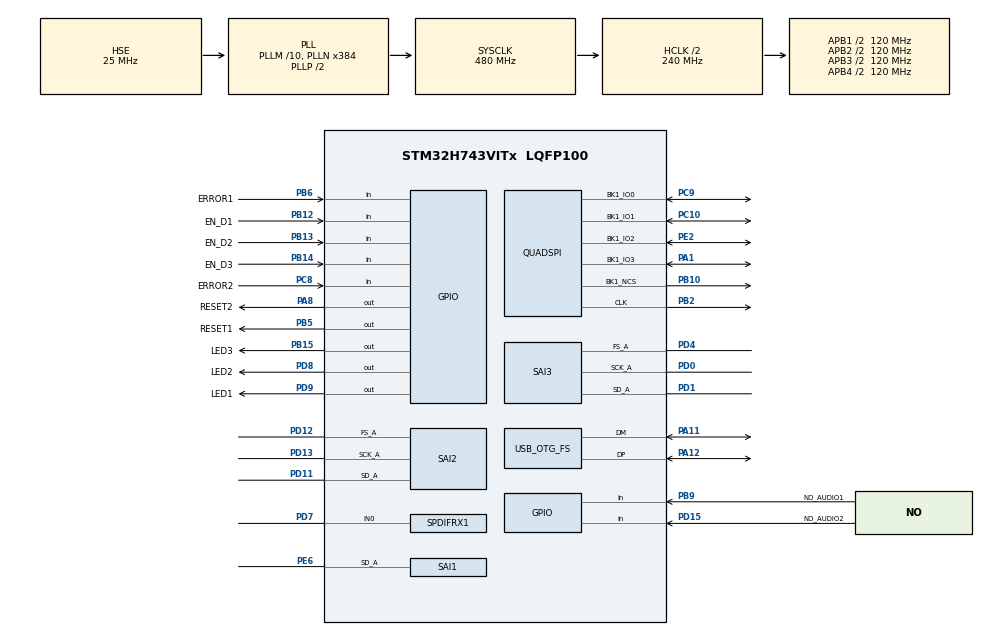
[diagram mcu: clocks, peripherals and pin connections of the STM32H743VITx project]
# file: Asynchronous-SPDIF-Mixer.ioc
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CORTEX_M7.AccessPermission_S-Cortex_Memory_Protection_Unit_Region1_Settings_S=MPU_REGION_PRIV_RO
CORTEX_M7.AccessPermission_S-Cortex_Memory_Protection_Unit_Region2_Settings_S=MPU_REGION_PRIV_RO_URO
CORTEX_M7.BaseAddress_S-Cortex_Memory_Protection_Unit_Region1_Settings_S=0x08000000
CORTEX_M7.BaseAddress_S-Cortex_Memory_Protection_Unit_Region2_Settings_S=0x90000000
CORTEX_M7.Enable_S-Cortex_Memory_Protection_Unit_Region1_Settings_S=MPU_REGION_ENABLE
CORTEX_M7.Enable_S-Cortex_Memory_Protection_Unit_Region2_Settings_S=MPU_REGION_ENABLE
CORTEX_M7.IsCacheable_S-Cortex_Memory_Protection_Unit_Region1_Settings_S=MPU_ACCESS_CACHEABLE
CORTEX_M7.Number_S-Cortex_Memory_Protection_Unit_Region2_Settings_S=MPU_REGION_NUMBER2
CORTEX_M7.Size_S-Cortex_Memory_Protection_Unit_Region1_Settings_S=MPU_REGION_SIZE_2MB
CORTEX_M7.Size_S-Cortex_Memory_Protection_Unit_Region2_Settings_S=MPU_REGION_SIZE_16MB
CORTEX_M7.TypeExtField_S-Cortex_Memory_Protection_Unit_Region1_Settings_S=MPU_TEX_LEVEL1
CORTEX_M7.TypeExtField_S-Cortex_Memory_Protection_Unit_Region2_Settings_S=MPU_TEX_LEVEL1
CORTEX_M7.default_mode_Activation=1
Dma.Request0=SAI1_A
Dma.Request1=SAI2_A
Dma.Request2=SAI3_A
Dma.Request3=SPDIF_RX_DT
Dma.SAI1_A.0.Direction=DMA_MEMORY_TO_PERIPH
Dma.SAI1_A.0.EventEnable=DISABLE
Dma.SAI1_A.0.FIFOMode=DMA_FIFOMODE_DISABLE
Dma.SAI1_A.0.Instance=DMA1_Stream0
Dma.SAI1_A.0.MemDataAlignment=DMA_MDATAALIGN_WORD
Dma.SAI1_A.0.MemInc=DMA_MINC_ENABLE
Dma.SAI1_A.0.Mode=DMA_CIRCULAR
Dma.SAI1_A.0.PeriphDataAlignment=DMA_PDATAALIGN_WORD
Dma.SAI1_A.0.PeriphInc=DMA_PINC_DISABLE
Dma.SAI1_A.0.Polarity=HAL_DMAMUX_REQ_GEN_RISING
Dma.SAI1_A.0.Priority=DMA_PRIORITY_VERY_HIGH
Dma.SAI1_A.0.RequestNumber=1
Dma.SAI1_A.0.SignalID=NONE
Dma.SAI1_A.0.SyncEnable=DISABLE
Dma.SAI1_A.0.SyncPolarity=HAL_DMAMUX_SYNC_NO_EVENT
Dma.SAI1_A.0.SyncRequestNumber=1
Dma.SAI1_A.0.SyncSignalID=NONE
Dma.SAI2_A.1.Direction=DMA_PERIPH_TO_MEMORY
Dma.SAI2_A.1.EventEnable=DISABLE
Dma.SAI2_A.1.FIFOMode=DMA_FIFOMODE_DISABLE
Dma.SAI2_A.1.Instance=DMA1_Stream1
Dma.SAI2_A.1.MemDataAlignment=DMA_MDATAALIGN_WORD
Dma.SAI2_A.1.MemInc=DMA_MINC_ENABLE
Dma.SAI2_A.1.Mode=DMA_CIRCULAR
Dma.SAI2_A.1.PeriphDataAlignment=DMA_PDATAALIGN_WORD
Dma.SAI2_A.1.PeriphInc=DMA_PINC_DISABLE
Dma.SAI2_A.1.Polarity=HAL_DMAMUX_REQ_GEN_RISING
Dma.SAI2_A.1.Priority=DMA_PRIORITY_HIGH
Dma.SAI2_A.1.RequestNumber=1
Dma.SAI2_A.1.SignalID=NONE
Dma.SAI2_A.1.SyncEnable=DISABLE
Dma.SAI2_A.1.SyncPolarity=HAL_DMAMUX_SYNC_NO_EVENT
Dma.SAI2_A.1.SyncRequestNumber=1
Dma.SAI2_A.1.SyncSignalID=NONE
Dma.SAI3_A.2.Direction=DMA_PERIPH_TO_MEMORY
Dma.SAI3_A.2.EventEnable=DISABLE
Dma.SAI3_A.2.FIFOMode=DMA_FIFOMODE_DISABLE
Dma.SAI3_A.2.Instance=DMA1_Stream2
Dma.SAI3_A.2.MemDataAlignment=DMA_MDATAALIGN_WORD
Dma.SAI3_A.2.MemInc=DMA_MINC_ENABLE
Dma.SAI3_A.2.Mode=DMA_CIRCULAR
Dma.SAI3_A.2.PeriphDataAlignment=DMA_PDATAALIGN_WORD
Dma.SAI3_A.2.PeriphInc=DMA_PINC_DISABLE
Dma.SAI3_A.2.Polarity=HAL_DMAMUX_REQ_GEN_RISING
Dma.SAI3_A.2.Priority=DMA_PRIORITY_HIGH
Dma.SAI3_A.2.RequestNumber=1
Dma.SAI3_A.2.SignalID=NONE
Dma.SAI3_A.2.SyncEnable=DISABLE
Dma.SAI3_A.2.SyncPolarity=HAL_DMAMUX_SYNC_NO_EVENT
Dma.SAI3_A.2.SyncRequestNumber=1
Dma.SAI3_A.2.SyncSignalID=NONE
Dma.SPDIF_RX_DT.3.Direction=DMA_PERIPH_TO_MEMORY
Dma.SPDIF_RX_DT.3.EventEnable=DISABLE
Dma.SPDIF_RX_DT.3.FIFOMode=DMA_FIFOMODE_DISABLE
Dma.SPDIF_RX_DT.3.Instance=DMA1_Stream3
Dma.SPDIF_RX_DT.3.MemDataAlignment=DMA_MDATAALIGN_WORD
Dma.SPDIF_RX_DT.3.MemInc=DMA_MINC_ENABLE
Dma.SPDIF_RX_DT.3.Mode=DMA_CIRCULAR
Dma.SPDIF_RX_DT.3.PeriphDataAlignment=DMA_PDATAALIGN_WORD
Dma.SPDIF_RX_DT.3.PeriphInc=DMA_PINC_DISABLE
Dma.SPDIF_RX_DT.3.Polarity=HAL_DMAMUX_REQ_GEN_RISING
Dma.SPDIF_RX_DT.3.Priority=DMA_PRIORITY_HIGH
Dma.SPDIF_RX_DT.3.RequestNumber=1
Dma.SPDIF_RX_DT.3.SignalID=NONE
Dma.SPDIF_RX_DT.3.SyncEnable=DISABLE
Dma.SPDIF_RX_DT.3.SyncPolarity=HAL_DMAMUX_SYNC_NO_EVENT
Dma.SPDIF_RX_DT.3.SyncRequestNumber=1
Dma.SPDIF_RX_DT.3.SyncSignalID=NONE
Mcu.Family=STM32H7
Mcu.Name=STM32H743VITx
Mcu.Package=LQFP100
NVIC.DMA1_Stream0_IRQn=true\:0\:0\:false\:false\:true\:false\:true\:true
NVIC.DMA1_Stream1_IRQn=true\:0\:0\:false\:false\:true\:false\:true\:true
NVIC.DMA1_Stream2_IRQn=true\:0\:0\:false\:false\:true\:false\:true\:true
NVIC.DMA1_Stream3_IRQn=true\:0\:0\:false\:false\:true\:false\:true\:true
NVIC.OTG_FS_IRQn=true\:0\:0\:false\:false\:true\:false\:true\:true
NVIC.PriorityGroup=NVIC_PRIORITYGROUP_4
NVIC.QUADSPI_IRQn=true\:0\:0\:false\:false\:true\:true\:true\:true
NVIC.TIM6_DAC_IRQn=true\:0\:0\:false\:false\:true\:true\:true\:true
PA1.Mode=Single Bank 1
PA1.Signal=QUADSPI_BK1_IO3
PA11.GPIO_Speed=GPIO_SPEED_FREQ_VERY_HIGH
PA11.Mode=Device_Only
PA11.Signal=USB_OTG_FS_DM
PA12.GPIO_Speed=GPIO_SPEED_FREQ_VERY_HIGH
PA12.Mode=Device_Only
PA12.Signal=USB_OTG_FS_DP
PA13\ (JTMS/SWDIO).Mode=Serial_Wire
PA13\ (JTMS/SWDIO).Signal=DEBUG_JTMS-SWDIO
PA14\ (JTCK/SWCLK).Mode=Serial_Wire
PA14\ (JTCK/SWCLK).Signal=DEBUG_JTCK-SWCLK
PA8.GPIO_Label=RESET2
PA8.Signal=GPIO_Output
PB10.Mode=Single Bank 1
PB10.Signal=QUADSPI_BK1_NCS
PB12.GPIO_Label=EN_D1
PB12.Signal=GPIO_Input
PB13.GPIO_Label=EN_D2
PB13.Signal=GPIO_Input
PB14.GPIO_Label=EN_D3
PB14.Signal=GPIO_Input
PB15.GPIO_Label=LED3
PB15.GPIO_ModeDefaultOutputPP=GPIO_MODE_OUTPUT_OD
PB15.GPIO_PuPd=GPIO_NOPULL
PB15.PinState=GPIO_PIN_SET
PB15.Signal=GPIO_Output
PB2.Mode=Single Bank 1
PB2.Signal=QUADSPI_CLK
PB5.GPIO_Label=RESET1
PB5.Signal=GPIO_Output
PB6.GPIO_Label=ERROR1
PB6.Signal=GPIO_Input
PB9.GPIO_Label=NO_AUDIO1
PB9.Signal=GPIO_Input
PC10.Mode=Single Bank 1
PC10.Signal=QUADSPI_BK1_IO1
PC8.GPIO_Label=ERROR2
PC8.Signal=GPIO_Input
PC9.Mode=Single Bank 1
PC9.Signal=QUADSPI_BK1_IO0
PD0.GPIO_Speed=GPIO_SPEED_FREQ_VERY_HIGH
PD0.Mode=SAI_A_AsyncSlave
PD0.Signal=SAI3_SCK_A
PD1.GPIO_Speed=GPIO_SPEED_FREQ_VERY_HIGH
PD1.Mode=SAI_A_AsyncSlave
PD1.Signal=SAI3_SD_A
PD11.GPIO_Speed=GPIO_SPEED_FREQ_VERY_HIGH
PD11.Mode=SAI_A_AsyncSlave
PD11.Signal=SAI2_SD_A
PD12.GPIO_Speed=GPIO_SPEED_FREQ_VERY_HIGH
PD12.Mode=SAI_A_AsyncSlave
PD12.Signal=SAI2_FS_A
PD13.GPIO_Speed=GPIO_SPEED_FREQ_VERY_HIGH
PD13.Mode=SAI_A_AsyncSlave
PD13.Signal=SAI2_SCK_A
PD15.GPIO_Label=NO_AUDIO2
PD15.Signal=GPIO_Input
PD4.GPIO_Speed=GPIO_SPEED_FREQ_VERY_HIGH
PD4.Mode=SAI_A_AsyncSlave
PD4.Signal=SAI3_FS_A
PD7.GPIO_Speed=GPIO_SPEED_FREQ_VERY_HIGH
PD7.Mode=IN0
PD7.Signal=SPDIFRX1_IN0
PD8.GPIO_Label=LED2
PD8.GPIO_ModeDefaultOutputPP=GPIO_MODE_OUTPUT_OD
PD8.GPIO_PuPd=GPIO_NOPULL
PD8.PinState=GPIO_PIN_SET
PD8.Signal=GPIO_Output
PD9.GPIO_Label=LED1
PD9.GPIO_ModeDefaultOutputPP=GPIO_MODE_OUTPUT_OD
PD9.GPIO_PuPd=GPIO_NOPULL
PD9.PinState=GPIO_PIN_SET
PD9.Signal=GPIO_Output
PE2.Mode=Single Bank 1
PE2.Signal=QUADSPI_BK1_IO2
PE6.GPIO_Speed=GPIO_SPEED_FREQ_VERY_HIGH
PE6.Mode=SAI_A_SPDIF
PE6.Signal=SAI1_SD_A
PH0-OSC_IN\ (PH0).Mode=HSE-External-Oscillator
PH0-OSC_IN\ (PH0).Signal=RCC_OSC_IN
PH1-OSC_OUT\ (PH1).Mode=HSE-External-Oscillator
PH1-OSC_OUT\ (PH1).Signal=RCC_OSC_OUT
ProjectManager.HeapSize=0x200
ProjectManager.StackSize=0x400
ProjectManager.TargetToolchain=STM32CubeIDE
QUADSPI.ClockPrescaler=4
QUADSPI.FlashSize=23
QUADSPI.SampleShifting=QSPI_SAMPLE_SHIFTING_HALFCYCLE
RCC.ADCFreq_Value=147500000
RCC.APB1Freq_Value=120000000
RCC.APB2Freq_Value=120000000
RCC.APB3Freq_Value=120000000
RCC.APB4Freq_Value=120000000
RCC.CortexFreq_Value=480000000
RCC.D1PPRE=RCC_APB3_DIV2
RCC.D2PPRE1=RCC_APB1_DIV2
RCC.D2PPRE2=RCC_APB2_DIV2
RCC.D3PPRE=RCC_APB4_DIV2
RCC.DIVM1=10
RCC.DIVM2=10
RCC.DIVM3=10
RCC.DIVN1=384
RCC.DIVN2=177
RCC.DIVN3=200
RCC.DIVP2=3
RCC.DIVP3=4
RCC.HCLKFreq_Value=240000000
RCC.HPRE=RCC_HCLK_DIV2
RCC.PLLSourceVirtual=RCC_PLLSOURCE_HSE
RCC.SAI1CLockSelection=RCC_SAI1CLKSOURCE_PLL2
RCC.SAI23CLockSelection=RCC_SAI23CLKSOURCE_PLL2
RCC.SPDIFCLockSelection=RCC_SPDIFRXCLKSOURCE_PLL3
RCC.SYSCLKFreq_VALUE=480000000
RCC.SYSCLKSource=RCC_SYSCLKSOURCE_PLLCLK
RCC.USBCLockSelection=RCC_USBCLKSOURCE_HSI48
RCC.USBFreq_Value=48000000
SAI1.AudioFrequency-SAI_A_SPDIF=SAI_AUDIO_FREQUENCY_48K
SAI1.Instance-SAI_A_SPDIF=SAI$Index_Block_A
SAI1.RealAudioFreq-SAI_A_SPDIF=2.304687 MHz
SAI1.VirtualMode-SAI_A_SPDIF=VM_SPDIF
SAI2.BasicDataSize-SAI_A_AsyncSlave=SAI_PROTOCOL_DATASIZE_32BIT
SAI2.BasicProtocol-SAI_A_AsyncSlave=SAI_I2S_MSBJUSTIFIED
SAI2.InitProtocol-SAI_A_AsyncSlave=Enable
SAI2.Instance-SAI_A_AsyncSlave=SAI$Index_Block_A
SAI2.VirtualMode-SAI_A_AsyncSlave=VM_SLAVE
SAI2.VirtualProtocol-SAI_A_BASIC=VM_BASIC_PROTOCOL
SAI3.BasicDataSize-SAI_A_AsyncSlave=SAI_PROTOCOL_DATASIZE_32BIT
SAI3.BasicProtocol-SAI_A_AsyncSlave=SAI_I2S_MSBJUSTIFIED
SAI3.InitProtocol-SAI_A_AsyncSlave=Enable
SAI3.Instance-SAI_A_AsyncSlave=SAI$Index_Block_A
SAI3.VirtualMode-SAI_A_AsyncSlave=VM_SLAVE
SAI3.VirtualProtocol-SAI_A_BASIC=VM_BASIC_PROTOCOL
SPDIFRX1.StereoMode=SPDIFRX_STEREOMODE_ENABLE
TIM6.AutoReloadPreload=TIM_AUTORELOAD_PRELOAD_ENABLE
TIM6.Period=1000-1
TIM6.Prescaler=25000-1
USB_DEVICE.CLASS_NAME_FS=CDC
USB_DEVICE.VirtualMode-CDC_FS=Cdc
USB_DEVICE.VirtualModeFS=Cdc_FS
USB_OTG_FS.VirtualMode=Device_Only
VP_MEMORYMAP_VS_MEMORYMAP.Mode=CurAppReg
VP_SAI2_VP_$IpInstance_SAIA_SAI_BASIC.Mode=SAI_A_BASIC
VP_SAI3_VP_$IpInstance_SAIA_SAI_BASIC.Mode=SAI_A_BASIC
VP_TIM6_VS_ClockSourceINT.Mode=Enable_Timer
VP_USB_DEVICE_VS_USB_DEVICE_CDC_FS.Mode=CDC_FS
board=custom

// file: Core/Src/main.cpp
/* USER CODE BEGIN Header */
/**
  ******************************************************************************
  * @file           : main.c
  * @brief          : Main program body
  ******************************************************************************
  * @attention
  *
  * Copyright (c) 2024 STMicroelectronics.
  * All rights reserved.
  *
  * This software is licensed under terms that can be found in the LICENSE file
  * in the root directory of this software component.
  * If no LICENSE file comes with this software, it is provided AS-IS.
  *
  ******************************************************************************
  */
/* USER CODE END Header */
#include "main.h"
#include "usb_device.h"

/* USER CODE BEGIN Includes */
#include "cMixer.h"
#include "cSAI_SPDIF_TX.h"
#include "cSPDIF_RX.h"
#include "cSAI_DIR9001_RX.h"
#include "usbd_cdc_if.h"
#include "W25Q128.h"
#include "cFlashManager.h"
/* USER CODE END Includes */

/* USER CODE BEGIN PTD */
//#define RAM_D3 __attribute__((section(".RAM_D3_Section")))
/* USER CODE END PTD */

QSPI_HandleTypeDef hqspi;

SAI_HandleTypeDef hsai_BlockA1;
SAI_HandleTypeDef hsai_BlockA2;
SAI_HandleTypeDef hsai_BlockA3;
DMA_HandleTypeDef hdma_sai1_a;
DMA_HandleTypeDef hdma_sai2_a;
DMA_HandleTypeDef hdma_sai3_a;

SPDIFRX_HandleTypeDef hspdif1;
DMA_HandleTypeDef hdma_spdif_rx_dt;

TIM_HandleTypeDef htim6;

/* USER CODE BEGIN PV */
int32_t __SAI_DIR9001_RX1_Buffer[40];
int32_t __SAI_DIR9001_RX2_Buffer[40];

Dad::cMixer 		  	__Mixer;
Dad::cSAI_SPDIF_TX 	  	__SAI_SPDIF_TX;
Dad::cSAI_DIR9001_RX1 	__SAI_DIR9001_RX1;
Dad::cSAI_DIR9001_RX2 	__SAI_DIR9001_RX2;
Dad::cSPDIF_RX 		  	__SPDIFRX;

DadDrivers::cW25Q128		__Flash;
DadDrivers::cFlashManager 	__FlashManager;
bool 						__FlashStatus = false;
MemStruct					__MemStruct;
bool						__MemStructChange = false;

/* USER CODE END PV */

void SystemClock_Config(void);
void PeriphCommonClock_Config(void);
static void MPU_Config(void);
static void MX_GPIO_Init(void);
static void MX_DMA_Init(void);
static void MX_SAI1_Init(void);
static void MX_SAI2_Init(void);
static void MX_SPDIFRX1_Init(void);
static void MX_SAI3_Init(void);
static void MX_QUADSPI_Init(void);
static void MX_TIM6_Init(void);

/* USER CODE BEGIN 0 */
void OnNoteOn(uint8_t channel, uint8_t note, uint8_t velocity){

}
void OnNoteOff(uint8_t channel, uint8_t note, uint8_t velocity){

}

float midiToGain(uint8_t midiValue) {
    if (midiValue == 0) {
        return 0.0f;  // Silence complet
    }

    // Normalisation 0-127 vers 0.0-1.0
    float normalized = midiValue / 127.0f;

    // Mapping linéaire vers la plage -50dB à +6dB (56dB de plage totale)
    float dB = -45.0f + (normalized * 51.0f);

    // Conversion dB vers gain linéaire : gain = 10^(dB/20)
    float gain = powf(10.0f, dB / 20.0f);

    return gain;
}

void OnControlChange(uint8_t channel, uint8_t control, uint8_t value){
	if(control == CC_GAIN_1){
		__MemStruct.vol1 = value;
		__MemStructChange = true;
		float Gain =  midiToGain(value);
		__Mixer.setGain1(Gain);
	}
	if(control == CC_GAIN_2){
		__MemStruct.vol2 = value;
		__MemStructChange = true;
		float Gain =  midiToGain(value);
		__Mixer.setGain2(Gain);
	}
	if(control == CC_GAIN_3){
		__MemStruct.vol3 = value;
		__MemStructChange = true;
		float Gain =  midiToGain(value);
		__Mixer.setGain3(Gain);
	}
	if(control == CC_GAIN_MASTER){
		__MemStruct.volMaster = value;
		__MemStructChange = true;
		float Gain =  midiToGain(value);
		__Mixer.setGainMaster(Gain);
	}
}

void OnProgramChange(uint8_t channel, uint8_t program){

}
/* USER CODE END 0 */

int main(void)
{

  /* MPU Configuration--------------------------------------------------------*/
  MPU_Config();

  /* MCU Configuration--------------------------------------------------------*/

  /* Configure The Vector Table address */
  SCB->VTOR = 0x08000000;

  /* Reset of all peripherals, Initializes the Flash interface and the Systick. */
  HAL_Init();

  /* Configure the system clock */
  SystemClock_Config();

  /* Configure the peripherals common clocks */
  PeriphCommonClock_Config();

  /* Initialize all configured peripherals */
  MX_GPIO_Init();
  MX_DMA_Init();
  MX_SAI1_Init();
  MX_SAI2_Init();
  MX_SPDIFRX1_Init();
  MX_SAI3_Init();
  MX_QUADSPI_Init();
  MX_TIM6_Init();
  MX_USB_DEVICE_Init();
  /* USER CODE BEGIN 2 */
  HAL_StatusTypeDef result = __Flash.Init(&hqspi, false, FLASH_ADR);
  __MemStruct.vol1 = 113;
  __MemStruct.vol2 = 113;
  __MemStruct.vol3 = 113;
  __MemStruct.volMaster = 113;
  __Mixer.Initialise();

  if(result == HAL_OK){
	  __FlashStatus = true;
	  __FlashManager.Init(&__Flash, FLASH_ADR);
	  if(false == __FlashManager.Load(&__MemStruct)){
		  __FlashManager.EraseSectors();
		  __FlashManager.Save(__MemStruct);
	  }
	  __Mixer.setGain1(midiToGain(__MemStruct.vol1));
	  __Mixer.setGain2(midiToGain(__MemStruct.vol2));
	  __Mixer.setGain3(midiToGain(__MemStruct.vol3));
	  __Mixer.setGainMaster(midiToGain(__MemStruct.volMaster));
  }

  __SAI_DIR9001_RX1.Init(&hsai_BlockA2, &__Mixer, __SAI_DIR9001_RX1_Buffer);
  __SAI_DIR9001_RX2.Init(&hsai_BlockA3, &__Mixer, __SAI_DIR9001_RX2_Buffer);
  __SPDIFRX.Init(&hspdif1, &htim6, &__Mixer, 25000000);
  __SAI_SPDIF_TX.Init(&hsai_BlockA1, &__Mixer);

  __SAI_DIR9001_RX1.StartReceive();
  __SAI_DIR9001_RX2.StartReceive();
  __SPDIFRX.StartReceive();
  __SAI_SPDIF_TX.StartTransmit();

  uint8_t ctLed = 0;
  uint8_t ctFlash = 0;

  /* USER CODE END 2 */

  /* Infinite loop */
  while (1)
  {

    /* USER CODE BEGIN 3 */
	  if(__Mixer.GetSampleRate3() != Dad::eSampleRate::NoSync){
		  HAL_GPIO_WritePin(LED3_GPIO_Port, LED3_Pin,  GPIO_PIN_RESET);
	  }else{
		  if(ctLed == 0){
			  HAL_GPIO_WritePin(LED3_GPIO_Port, LED3_Pin,  GPIO_PIN_RESET);
		  }else{
			  HAL_GPIO_WritePin(LED3_GPIO_Port, LED3_Pin,  GPIO_PIN_SET);
		  }
	  }

	  if(__Mixer.GetSampleRate2() != Dad::eSampleRate::NoSync){
		  HAL_GPIO_WritePin(LED1_GPIO_Port, LED1_Pin,  GPIO_PIN_RESET);
	  }else{
		  if(ctLed == 3){
			  HAL_GPIO_WritePin(LED1_GPIO_Port, LED1_Pin,  GPIO_PIN_RESET);
		  }else{
			  HAL_GPIO_WritePin(LED1_GPIO_Port, LED1_Pin,  GPIO_PIN_SET);
		  }
	  }

	  if(__Mixer.GetSampleRate1() != Dad::eSampleRate::NoSync){
		  HAL_GPIO_WritePin(LED2_GPIO_Port, LED2_Pin,  GPIO_PIN_RESET);
	  }else{
		  if(ctLed == 6){
			  HAL_GPIO_WritePin(LED2_GPIO_Port, LED2_Pin,  GPIO_PIN_RESET);
		  }else{
			  HAL_GPIO_WritePin(LED2_GPIO_Port, LED2_Pin,  GPIO_PIN_SET);
		  }
	  }
	  ctLed++;
	  if(ctLed == 9) ctLed=0;

	  ctFlash++;
	  if(ctFlash == 50){
		  ctFlash = 0;
		  if((__FlashStatus == true) && (__MemStructChange == true)){
			  __disable_irq();
			  __MemStructChange = false;
			  __enable_irq();
			  __FlashManager.Save(__MemStruct);
		  }
	  }
	  HAL_Delay(200);
  }
  /* USER CODE END 3 */
}

void SystemClock_Config(void)
{
  RCC_OscInitTypeDef RCC_OscInitStruct = {0};
  RCC_ClkInitTypeDef RCC_ClkInitStruct = {0};

  /** Supply configuration update enable
  */
  HAL_PWREx_ConfigSupply(PWR_LDO_SUPPLY);

  /** Configure the main internal regulator output voltage
  */
  __HAL_PWR_VOLTAGESCALING_CONFIG(PWR_REGULATOR_VOLTAGE_SCALE0);

  while(!__HAL_PWR_GET_FLAG(PWR_FLAG_VOSRDY)) {}

  /** Initializes the RCC Oscillators according to the specified parameters
  * in the RCC_OscInitTypeDef structure.
  */
  RCC_OscInitStruct.OscillatorType = RCC_OSCILLATORTYPE_HSI48|RCC_OSCILLATORTYPE_HSE;
  RCC_OscInitStruct.HSEState = RCC_HSE_ON;
  RCC_OscInitStruct.HSI48State = RCC_HSI48_ON;
  RCC_OscInitStruct.PLL.PLLState = RCC_PLL_ON;
  RCC_OscInitStruct.PLL.PLLSource = RCC_PLLSOURCE_HSE;
  RCC_OscInitStruct.PLL.PLLM = 10;
  RCC_OscInitStruct.PLL.PLLN = 384;
  RCC_OscInitStruct.PLL.PLLP = 2;
  RCC_OscInitStruct.PLL.PLLQ = 2;
  RCC_OscInitStruct.PLL.PLLR = 2;
  RCC_OscInitStruct.PLL.PLLRGE = RCC_PLL1VCIRANGE_1;
  RCC_OscInitStruct.PLL.PLLVCOSEL = RCC_PLL1VCOWIDE;
  RCC_OscInitStruct.PLL.PLLFRACN = 0;
  if (HAL_RCC_OscConfig(&RCC_OscInitStruct) != HAL_OK)
  {
    Error_Handler();
  }

  /** Initializes the CPU, AHB and APB buses clocks
  */
  RCC_ClkInitStruct.ClockType = RCC_CLOCKTYPE_HCLK|RCC_CLOCKTYPE_SYSCLK
                              |RCC_CLOCKTYPE_PCLK1|RCC_CLOCKTYPE_PCLK2
                              |RCC_CLOCKTYPE_D3PCLK1|RCC_CLOCKTYPE_D1PCLK1;
  RCC_ClkInitStruct.SYSCLKSource = RCC_SYSCLKSOURCE_PLLCLK;
  RCC_ClkInitStruct.SYSCLKDivider = RCC_SYSCLK_DIV1;
  RCC_ClkInitStruct.AHBCLKDivider = RCC_HCLK_DIV2;
  RCC_ClkInitStruct.APB3CLKDivider = RCC_APB3_DIV2;
  RCC_ClkInitStruct.APB1CLKDivider = RCC_APB1_DIV2;
  RCC_ClkInitStruct.APB2CLKDivider = RCC_APB2_DIV2;
  RCC_ClkInitStruct.APB4CLKDivider = RCC_APB4_DIV2;

  if (HAL_RCC_ClockConfig(&RCC_ClkInitStruct, FLASH_LATENCY_4) != HAL_OK)
  {
    Error_Handler();
  }
}

void PeriphCommonClock_Config(void)
{
  RCC_PeriphCLKInitTypeDef PeriphClkInitStruct = {0};

  /** Initializes the peripherals clock
  */
  PeriphClkInitStruct.PeriphClockSelection = RCC_PERIPHCLK_SAI1|RCC_PERIPHCLK_SAI2
                              |RCC_PERIPHCLK_SAI3;
  PeriphClkInitStruct.PLL2.PLL2M = 10;
  PeriphClkInitStruct.PLL2.PLL2N = 177;
  PeriphClkInitStruct.PLL2.PLL2P = 3;
  PeriphClkInitStruct.PLL2.PLL2Q = 2;
  PeriphClkInitStruct.PLL2.PLL2R = 2;
  PeriphClkInitStruct.PLL2.PLL2RGE = RCC_PLL2VCIRANGE_1;
  PeriphClkInitStruct.PLL2.PLL2VCOSEL = RCC_PLL2VCOWIDE;
  PeriphClkInitStruct.PLL2.PLL2FRACN = 0;
  PeriphClkInitStruct.Sai1ClockSelection = RCC_SAI1CLKSOURCE_PLL2;
  PeriphClkInitStruct.Sai23ClockSelection = RCC_SAI23CLKSOURCE_PLL2;
  if (HAL_RCCEx_PeriphCLKConfig(&PeriphClkInitStruct) != HAL_OK)
  {
    Error_Handler();
  }
}

static void MX_QUADSPI_Init(void)
{

  /* QUADSPI parameter configuration*/
  hqspi.Instance = QUADSPI;
  hqspi.Init.ClockPrescaler = 10;
  hqspi.Init.FifoThreshold = 1;
  hqspi.Init.SampleShifting = QSPI_SAMPLE_SHIFTING_HALFCYCLE;
  hqspi.Init.FlashSize = 23;
  hqspi.Init.ChipSelectHighTime = QSPI_CS_HIGH_TIME_1_CYCLE;
  hqspi.Init.ClockMode = QSPI_CLOCK_MODE_0;
  hqspi.Init.FlashID = QSPI_FLASH_ID_1;
  hqspi.Init.DualFlash = QSPI_DUALFLASH_DISABLE;
  if (HAL_QSPI_Init(&hqspi) != HAL_OK)
  {
    Error_Handler();
  }

}

static void MX_SAI1_Init(void)
{

  hsai_BlockA1.Instance = SAI1_Block_A;
  hsai_BlockA1.Init.Protocol = SAI_SPDIF_PROTOCOL;
  hsai_BlockA1.Init.AudioMode = SAI_MODEMASTER_TX;
  hsai_BlockA1.Init.Synchro = SAI_ASYNCHRONOUS;
  hsai_BlockA1.Init.OutputDrive = SAI_OUTPUTDRIVE_DISABLE;
  hsai_BlockA1.Init.MckOverSampling = SAI_MCK_OVERSAMPLING_DISABLE;
  hsai_BlockA1.Init.FIFOThreshold = SAI_FIFOTHRESHOLD_EMPTY;
  hsai_BlockA1.Init.AudioFrequency = SAI_AUDIO_FREQUENCY_48K;
  hsai_BlockA1.Init.MonoStereoMode = SAI_STEREOMODE;
  hsai_BlockA1.Init.CompandingMode = SAI_NOCOMPANDING;
  hsai_BlockA1.Init.PdmInit.Activation = DISABLE;
  hsai_BlockA1.Init.PdmInit.MicPairsNbr = 1;
  hsai_BlockA1.Init.PdmInit.ClockEnable = SAI_PDM_CLOCK1_ENABLE;
  if (HAL_SAI_Init(&hsai_BlockA1) != HAL_OK)
  {
    Error_Handler();
  }

}

static void MX_SAI2_Init(void)
{

  hsai_BlockA2.Instance = SAI2_Block_A;
  hsai_BlockA2.Init.AudioMode = SAI_MODESLAVE_RX;
  hsai_BlockA2.Init.Synchro = SAI_ASYNCHRONOUS;
  hsai_BlockA2.Init.OutputDrive = SAI_OUTPUTDRIVE_DISABLE;
  hsai_BlockA2.Init.MckOverSampling = SAI_MCK_OVERSAMPLING_DISABLE;
  hsai_BlockA2.Init.FIFOThreshold = SAI_FIFOTHRESHOLD_EMPTY;
  hsai_BlockA2.Init.SynchroExt = SAI_SYNCEXT_DISABLE;
  hsai_BlockA2.Init.MonoStereoMode = SAI_STEREOMODE;
  hsai_BlockA2.Init.CompandingMode = SAI_NOCOMPANDING;
  hsai_BlockA2.Init.TriState = SAI_OUTPUT_NOTRELEASED;
  if (HAL_SAI_InitProtocol(&hsai_BlockA2, SAI_I2S_MSBJUSTIFIED, SAI_PROTOCOL_DATASIZE_32BIT, 2) != HAL_OK)
  {
    Error_Handler();
  }

}

static void MX_SAI3_Init(void)
{

  hsai_BlockA3.Instance = SAI3_Block_A;
  hsai_BlockA3.Init.AudioMode = SAI_MODESLAVE_RX;
  hsai_BlockA3.Init.Synchro = SAI_ASYNCHRONOUS;
  hsai_BlockA3.Init.OutputDrive = SAI_OUTPUTDRIVE_DISABLE;
  hsai_BlockA3.Init.MckOverSampling = SAI_MCK_OVERSAMPLING_DISABLE;
  hsai_BlockA3.Init.FIFOThreshold = SAI_FIFOTHRESHOLD_EMPTY;
  hsai_BlockA3.Init.SynchroExt = SAI_SYNCEXT_DISABLE;
  hsai_BlockA3.Init.MonoStereoMode = SAI_STEREOMODE;
  hsai_BlockA3.Init.CompandingMode = SAI_NOCOMPANDING;
  hsai_BlockA3.Init.TriState = SAI_OUTPUT_NOTRELEASED;
  if (HAL_SAI_InitProtocol(&hsai_BlockA3, SAI_I2S_MSBJUSTIFIED, SAI_PROTOCOL_DATASIZE_32BIT, 2) != HAL_OK)
  {
    Error_Handler();
  }

}

static void MX_SPDIFRX1_Init(void)
{

  hspdif1.Instance = SPDIFRX;
  hspdif1.Init.InputSelection = SPDIFRX_INPUT_IN0;
  hspdif1.Init.Retries = SPDIFRX_MAXRETRIES_NONE;
  hspdif1.Init.WaitForActivity = SPDIFRX_WAITFORACTIVITY_OFF;
  hspdif1.Init.ChannelSelection = SPDIFRX_CHANNEL_A;
  hspdif1.Init.DataFormat = SPDIFRX_DATAFORMAT_LSB;
  hspdif1.Init.StereoMode = SPDIFRX_STEREOMODE_ENABLE;
  hspdif1.Init.PreambleTypeMask = SPDIFRX_PREAMBLETYPEMASK_OFF;
  hspdif1.Init.ChannelStatusMask = SPDIFRX_CHANNELSTATUS_OFF;
  hspdif1.Init.ValidityBitMask = SPDIFRX_VALIDITYMASK_OFF;
  hspdif1.Init.ParityErrorMask = SPDIFRX_PARITYERRORMASK_OFF;
  hspdif1.Init.SymbolClockGen = DISABLE;
  hspdif1.Init.BackupSymbolClockGen = DISABLE;
  if (HAL_SPDIFRX_Init(&hspdif1) != HAL_OK)
  {
    Error_Handler();
  }

}

static void MX_TIM6_Init(void)
{

  TIM_MasterConfigTypeDef sMasterConfig = {0};

  htim6.Instance = TIM6;
  htim6.Init.Prescaler = 25000-1;
  htim6.Init.CounterMode = TIM_COUNTERMODE_UP;
  htim6.Init.Period = 1000-1;
  htim6.Init.AutoReloadPreload = TIM_AUTORELOAD_PRELOAD_ENABLE;
  if (HAL_TIM_Base_Init(&htim6) != HAL_OK)
  {
    Error_Handler();
  }
  sMasterConfig.MasterOutputTrigger = TIM_TRGO_RESET;
  sMasterConfig.MasterSlaveMode = TIM_MASTERSLAVEMODE_DISABLE;
  if (HAL_TIMEx_MasterConfigSynchronization(&htim6, &sMasterConfig) != HAL_OK)
  {
    Error_Handler();
  }

}

static void MX_DMA_Init(void)
{

  /* DMA controller clock enable */
  __HAL_RCC_DMA1_CLK_ENABLE();

  /* DMA interrupt init */
  /* DMA1_Stream0_IRQn interrupt configuration */
  HAL_NVIC_SetPriority(DMA1_Stream0_IRQn, 0, 0);
  HAL_NVIC_EnableIRQ(DMA1_Stream0_IRQn);
  /* DMA1_Stream1_IRQn interrupt configuration */
  HAL_NVIC_SetPriority(DMA1_Stream1_IRQn, 0, 0);
  HAL_NVIC_EnableIRQ(DMA1_Stream1_IRQn);
  /* DMA1_Stream2_IRQn interrupt configuration */
  HAL_NVIC_SetPriority(DMA1_Stream2_IRQn, 0, 0);
  HAL_NVIC_EnableIRQ(DMA1_Stream2_IRQn);
  /* DMA1_Stream3_IRQn interrupt configuration */
  HAL_NVIC_SetPriority(DMA1_Stream3_IRQn, 0, 0);
  HAL_NVIC_EnableIRQ(DMA1_Stream3_IRQn);

}

static void MX_GPIO_Init(void)
{
  GPIO_InitTypeDef GPIO_InitStruct = {0};

  /* GPIO Ports Clock Enable */
  __HAL_RCC_GPIOE_CLK_ENABLE();
  __HAL_RCC_GPIOH_CLK_ENABLE();
  __HAL_RCC_GPIOA_CLK_ENABLE();
  __HAL_RCC_GPIOB_CLK_ENABLE();
  __HAL_RCC_GPIOD_CLK_ENABLE();
  __HAL_RCC_GPIOC_CLK_ENABLE();

  /*Configure GPIO pin Output Level */
  HAL_GPIO_WritePin(LED3_GPIO_Port, LED3_Pin, GPIO_PIN_SET);

  /*Configure GPIO pin Output Level */
  HAL_GPIO_WritePin(GPIOD, LED2_Pin|LED1_Pin, GPIO_PIN_SET);

  /*Configure GPIO pin Output Level */
  HAL_GPIO_WritePin(RESET2_GPIO_Port, RESET2_Pin, GPIO_PIN_RESET);

  /*Configure GPIO pin Output Level */
  HAL_GPIO_WritePin(RESET1_GPIO_Port, RESET1_Pin, GPIO_PIN_RESET);

  /*Configure GPIO pins : EN_D1_Pin EN_D2_Pin EN_D3_Pin ERROR1_Pin
                           NO_AUDIO1_Pin */
  GPIO_InitStruct.Pin = EN_D1_Pin|EN_D2_Pin|EN_D3_Pin|ERROR1_Pin
                          |NO_AUDIO1_Pin;
  GPIO_InitStruct.Mode = GPIO_MODE_INPUT;
  GPIO_InitStruct.Pull = GPIO_NOPULL;
  HAL_GPIO_Init(GPIOB, &GPIO_InitStruct);

  /*Configure GPIO pin : LED3_Pin */
  GPIO_InitStruct.Pin = LED3_Pin;
  GPIO_InitStruct.Mode = GPIO_MODE_OUTPUT_OD;
  GPIO_InitStruct.Pull = GPIO_NOPULL;
  GPIO_InitStruct.Speed = GPIO_SPEED_FREQ_LOW;
  HAL_GPIO_Init(LED3_GPIO_Port, &GPIO_InitStruct);

  /*Configure GPIO pins : LED2_Pin LED1_Pin */
  GPIO_InitStruct.Pin = LED2_Pin|LED1_Pin;
  GPIO_InitStruct.Mode = GPIO_MODE_OUTPUT_OD;
  GPIO_InitStruct.Pull = GPIO_NOPULL;
  GPIO_InitStruct.Speed = GPIO_SPEED_FREQ_LOW;
  HAL_GPIO_Init(GPIOD, &GPIO_InitStruct);

  /*Configure GPIO pin : NO_AUDIO2_Pin */
  GPIO_InitStruct.Pin = NO_AUDIO2_Pin;
  GPIO_InitStruct.Mode = GPIO_MODE_INPUT;
  GPIO_InitStruct.Pull = GPIO_NOPULL;
  HAL_GPIO_Init(NO_AUDIO2_GPIO_Port, &GPIO_InitStruct);

  /*Configure GPIO pin : ERROR2_Pin */
  GPIO_InitStruct.Pin = ERROR2_Pin;
  GPIO_InitStruct.Mode = GPIO_MODE_INPUT;
  GPIO_InitStruct.Pull = GPIO_NOPULL;
  HAL_GPIO_Init(ERROR2_GPIO_Port, &GPIO_InitStruct);

  /*Configure GPIO pin : RESET2_Pin */
  GPIO_InitStruct.Pin = RESET2_Pin;
  GPIO_InitStruct.Mode = GPIO_MODE_OUTPUT_PP;
  GPIO_InitStruct.Pull = GPIO_NOPULL;
  GPIO_InitStruct.Speed = GPIO_SPEED_FREQ_LOW;
  HAL_GPIO_Init(RESET2_GPIO_Port, &GPIO_InitStruct);

  /*Configure GPIO pin : RESET1_Pin */
  GPIO_InitStruct.Pin = RESET1_Pin;
  GPIO_InitStruct.Mode = GPIO_MODE_OUTPUT_PP;
  GPIO_InitStruct.Pull = GPIO_NOPULL;
  GPIO_InitStruct.Speed = GPIO_SPEED_FREQ_LOW;
  HAL_GPIO_Init(RESET1_GPIO_Port, &GPIO_InitStruct);

}

 /* MPU Configuration */

void MPU_Config(void)
{
  MPU_Region_InitTypeDef MPU_InitStruct = {0};

  /* Disables the MPU */
  HAL_MPU_Disable();

  /** Initializes and configures the Region and the memory to be protected
  */
  MPU_InitStruct.Enable = MPU_REGION_ENABLE;
  MPU_InitStruct.Number = MPU_REGION_NUMBER0;
  MPU_InitStruct.BaseAddress = 0x0;
  MPU_InitStruct.Size = MPU_REGION_SIZE_4GB;
  MPU_InitStruct.SubRegionDisable = 0x87;
  MPU_InitStruct.TypeExtField = MPU_TEX_LEVEL0;
  MPU_InitStruct.AccessPermission = MPU_REGION_NO_ACCESS;
  MPU_InitStruct.DisableExec = MPU_INSTRUCTION_ACCESS_DISABLE;
  MPU_InitStruct.IsShareable = MPU_ACCESS_SHAREABLE;
  MPU_InitStruct.IsCacheable = MPU_ACCESS_NOT_CACHEABLE;
  MPU_InitStruct.IsBufferable = MPU_ACCESS_NOT_BUFFERABLE;

  HAL_MPU_ConfigRegion(&MPU_InitStruct);

  /** Initializes and configures the Region and the memory to be protected
  */
  MPU_InitStruct.Number = MPU_REGION_NUMBER1;
  MPU_InitStruct.BaseAddress = 0x08000000;
  MPU_InitStruct.Size = MPU_REGION_SIZE_2MB;
  MPU_InitStruct.SubRegionDisable = 0x0;
  MPU_InitStruct.TypeExtField = MPU_TEX_LEVEL1;
  MPU_InitStruct.AccessPermission = MPU_REGION_PRIV_RO;
  MPU_InitStruct.DisableExec = MPU_INSTRUCTION_ACCESS_ENABLE;
  MPU_InitStruct.IsShareable = MPU_ACCESS_NOT_SHAREABLE;
  MPU_InitStruct.IsCacheable = MPU_ACCESS_CACHEABLE;

  HAL_MPU_ConfigRegion(&MPU_InitStruct);

  /** Initializes and configures the Region and the memory to be protected
  */
  MPU_InitStruct.Number = MPU_REGION_NUMBER2;
  MPU_InitStruct.BaseAddress = 0x90000000;
  MPU_InitStruct.Size = MPU_REGION_SIZE_16MB;
  MPU_InitStruct.AccessPermission = MPU_REGION_PRIV_RO_URO;
  MPU_InitStruct.IsCacheable = MPU_ACCESS_NOT_CACHEABLE;

  HAL_MPU_ConfigRegion(&MPU_InitStruct);
  /* Enables the MPU */
  HAL_MPU_Enable(MPU_PRIVILEGED_DEFAULT);

}

void Error_Handler(void)
{
  __disable_irq();
  while (1)
  {
  }
}
